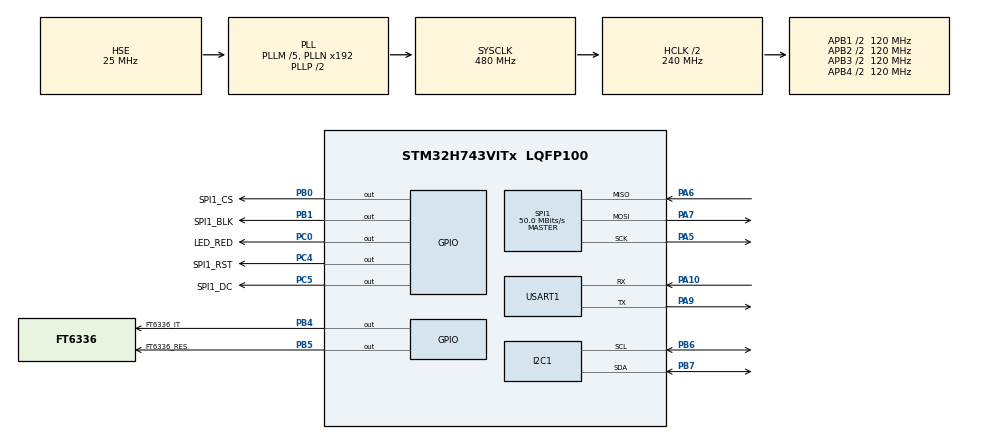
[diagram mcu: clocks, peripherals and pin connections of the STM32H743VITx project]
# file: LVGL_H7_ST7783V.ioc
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CORTEX_M7.default_mode_Activation=1
Dma.Request0=SPI1_TX
Dma.Request1=USART1_TX
Dma.SPI1_TX.0.Direction=DMA_MEMORY_TO_PERIPH
Dma.SPI1_TX.0.EventEnable=DISABLE
Dma.SPI1_TX.0.FIFOMode=DMA_FIFOMODE_DISABLE
Dma.SPI1_TX.0.Instance=DMA1_Stream0
Dma.SPI1_TX.0.MemDataAlignment=DMA_MDATAALIGN_BYTE
Dma.SPI1_TX.0.MemInc=DMA_MINC_ENABLE
Dma.SPI1_TX.0.Mode=DMA_NORMAL
Dma.SPI1_TX.0.PeriphDataAlignment=DMA_PDATAALIGN_BYTE
Dma.SPI1_TX.0.PeriphInc=DMA_PINC_DISABLE
Dma.SPI1_TX.0.Polarity=HAL_DMAMUX_REQ_GEN_RISING
Dma.SPI1_TX.0.Priority=DMA_PRIORITY_VERY_HIGH
Dma.SPI1_TX.0.RequestNumber=1
Dma.SPI1_TX.0.SignalID=NONE
Dma.SPI1_TX.0.SyncEnable=DISABLE
Dma.SPI1_TX.0.SyncPolarity=HAL_DMAMUX_SYNC_NO_EVENT
Dma.SPI1_TX.0.SyncRequestNumber=1
Dma.SPI1_TX.0.SyncSignalID=NONE
Dma.USART1_TX.1.Direction=DMA_MEMORY_TO_PERIPH
Dma.USART1_TX.1.EventEnable=DISABLE
Dma.USART1_TX.1.FIFOMode=DMA_FIFOMODE_DISABLE
Dma.USART1_TX.1.Instance=DMA1_Stream1
Dma.USART1_TX.1.MemDataAlignment=DMA_MDATAALIGN_BYTE
Dma.USART1_TX.1.MemInc=DMA_MINC_ENABLE
Dma.USART1_TX.1.Mode=DMA_NORMAL
Dma.USART1_TX.1.PeriphDataAlignment=DMA_PDATAALIGN_BYTE
Dma.USART1_TX.1.PeriphInc=DMA_PINC_DISABLE
Dma.USART1_TX.1.Polarity=HAL_DMAMUX_REQ_GEN_RISING
Dma.USART1_TX.1.Priority=DMA_PRIORITY_MEDIUM
Dma.USART1_TX.1.RequestNumber=1
Dma.USART1_TX.1.SignalID=NONE
Dma.USART1_TX.1.SyncEnable=DISABLE
Dma.USART1_TX.1.SyncPolarity=HAL_DMAMUX_SYNC_NO_EVENT
Dma.USART1_TX.1.SyncRequestNumber=1
Dma.USART1_TX.1.SyncSignalID=NONE
I2C1.Timing=0x307075B1
Mcu.Family=STM32H7
Mcu.Name=STM32H743VITx
Mcu.Package=LQFP100
NVIC.DMA1_Stream0_IRQn=true\:0\:0\:false\:false\:true\:false\:true\:true
NVIC.DMA1_Stream1_IRQn=true\:0\:0\:false\:false\:true\:false\:true\:true
NVIC.PriorityGroup=NVIC_PRIORITYGROUP_4
NVIC.SPI1_IRQn=true\:0\:0\:false\:false\:true\:true\:true\:true
NVIC.TIM1_BRK_IRQn=true\:0\:0\:false\:false\:true\:true\:true\:true
NVIC.TIM1_UP_IRQn=true\:0\:0\:false\:false\:true\:true\:true\:true
NVIC.USART1_IRQn=true\:0\:0\:false\:false\:true\:true\:true\:true
PA10.Mode=Asynchronous
PA10.Signal=USART1_RX
PA5.GPIO_PuPd=GPIO_NOPULL
PA5.GPIO_Speed=GPIO_SPEED_FREQ_VERY_HIGH
PA5.Mode=Full_Duplex_Master
PA5.Signal=SPI1_SCK
PA6.GPIO_PuPd=GPIO_NOPULL
PA6.GPIO_Speed=GPIO_SPEED_FREQ_VERY_HIGH
PA6.Mode=Full_Duplex_Master
PA6.Signal=SPI1_MISO
PA7.GPIO_PuPd=GPIO_NOPULL
PA7.GPIO_Speed=GPIO_SPEED_FREQ_VERY_HIGH
PA7.Mode=Full_Duplex_Master
PA7.Signal=SPI1_MOSI
PA9.Mode=Asynchronous
PA9.Signal=USART1_TX
PB0.GPIO_Label=SPI1_CS
PB0.GPIO_Speed=GPIO_SPEED_FREQ_VERY_HIGH
PB0.Signal=GPIO_Output
PB1.GPIO_Label=SPI1_BLK
PB1.GPIO_Speed=GPIO_SPEED_FREQ_VERY_HIGH
PB1.Signal=GPIO_Output
PB4\ (NJTRST).GPIO_Label=FT6336_IT
PB4\ (NJTRST).GPIO_Speed=GPIO_SPEED_FREQ_VERY_HIGH
PB4\ (NJTRST).Signal=GPIO_Output
PB5.GPIO_Label=FT6336_RES
PB5.GPIO_Speed=GPIO_SPEED_FREQ_VERY_HIGH
PB5.Signal=GPIO_Output
PB6.Mode=I2C
PB6.Signal=I2C1_SCL
PB7.Mode=I2C
PB7.Signal=I2C1_SDA
PC0.GPIO_Label=LED_RED
PC0.GPIO_Speed=GPIO_SPEED_FREQ_VERY_HIGH
PC0.Signal=GPIO_Output
PC4.GPIO_Label=SPI1_RST
PC4.GPIO_Speed=GPIO_SPEED_FREQ_VERY_HIGH
PC4.Signal=GPIO_Output
PC5.GPIO_Label=SPI1_DC
PC5.GPIO_Speed=GPIO_SPEED_FREQ_VERY_HIGH
PC5.Signal=GPIO_Output
PH0-OSC_IN\ (PH0).Mode=HSE-External-Oscillator
PH0-OSC_IN\ (PH0).Signal=RCC_OSC_IN
PH1-OSC_OUT\ (PH1).Mode=HSE-External-Oscillator
PH1-OSC_OUT\ (PH1).Signal=RCC_OSC_OUT
ProjectManager.HeapSize=0x800
ProjectManager.StackSize=0x1000
ProjectManager.TargetToolchain=CMake
RCC.ADCFreq_Value=100000000
RCC.APB1Freq_Value=120000000
RCC.APB2Freq_Value=120000000
RCC.APB3Freq_Value=120000000
RCC.APB4Freq_Value=120000000
RCC.CortexFreq_Value=480000000
RCC.D1PPRE=RCC_APB3_DIV2
RCC.D2PPRE1=RCC_APB1_DIV2
RCC.D2PPRE2=RCC_APB2_DIV2
RCC.D3PPRE=RCC_APB4_DIV2
RCC.DIVM1=5
RCC.DIVM2=5
RCC.DIVN1=192
RCC.DIVN2=40
RCC.HCLKFreq_Value=240000000
RCC.HPRE=RCC_HCLK_DIV2
RCC.PLLSourceVirtual=RCC_PLLSOURCE_HSE
RCC.SPI123CLockSelection=RCC_SPI123CLKSOURCE_PLL2
RCC.SYSCLKFreq_VALUE=480000000
RCC.SYSCLKSource=RCC_SYSCLKSOURCE_PLLCLK
RCC.USBFreq_Value=480000000
SPI1.BaudRatePrescaler=SPI_BAUDRATEPRESCALER_2
SPI1.CalculateBaudRate=50.0 MBits/s
SPI1.DataSize=SPI_DATASIZE_8BIT
SPI1.Direction=SPI_DIRECTION_2LINES
SPI1.Mode=SPI_MODE_MASTER
SPI1.VirtualType=VM_MASTER
TIM1.Period=1000 -1
TIM1.Prescaler=240 - 1
USART1.VirtualMode-Asynchronous=VM_ASYNC
VP_MEMORYMAP_VS_MEMORYMAP.Mode=CurAppReg
VP_TIM1_VS_ClockSourceINT.Mode=Internal
board=custom

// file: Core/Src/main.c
/* USER CODE BEGIN Header */
/**
  ******************************************************************************
  * @file           : main.c
  * @brief          : Main program body
  ******************************************************************************
  * @attention
  *
  * Copyright (c) 2025 STMicroelectronics.
  * All rights reserved.
  *
  * This software is licensed under terms that can be found in the LICENSE file
  * in the root directory of this software component.
  * If no LICENSE file comes with this software, it is provided AS-IS.
  *
  ******************************************************************************
  */
/* USER CODE END Header */
#include "main.h"
#include "dma.h"
#include "i2c.h"
#include "spi.h"
#include "tim.h"
#include "usart.h"
#include "gpio.h"

/* USER CODE BEGIN Includes */
#include "lvgl.h"
#include <stdint.h>
#include <stdio.h>
#include "LCD.h"
#include "lv_port_disp.h"
#include "widgets/lv_btn.h"
#include <stdbool.h>
#include "ft6336.h"
#include "lv_port_indev.h"
#include "gui_guider.h"
#include "events_init.h"
#include "custom.h"
// #include "lv_demo_widgets.h"
/* USER CODE END Includes */

/* USER CODE BEGIN PTD */
volatile bool g_lv_hander_flag = false;
/* USER CODE END PTD */

void SystemClock_Config(void);
static void MPU_Config(void);

/* USER CODE BEGIN 0 */
static lv_obj_t *g_btn_label = NULL;
static uint32_t g_btn_count = 0;
lv_ui ui;

static void btn_event_cb(lv_event_t *e)
{
  if (lv_event_get_code(e) != LV_EVENT_CLICKED) {
    return; // Only handle click events
  }

  // Update label text with the current count, then increment for next click
  lv_label_set_text_fmt(g_btn_label, "count:%lu", (unsigned long)g_btn_count);
  printf("clicked count: %lu\r\n",(unsigned long)g_btn_count);
  g_btn_count++;
}
/* USER CODE END 0 */

int main(void)
{

  /* MPU Configuration--------------------------------------------------------*/
  MPU_Config();

  /* MCU Configuration--------------------------------------------------------*/

  /* Reset of all peripherals, Initializes the Flash interface and the Systick. */
  HAL_Init();

  /* Configure the system clock */
  SystemClock_Config();

  /* Initialize all configured peripherals */
  MX_GPIO_Init();
  MX_DMA_Init();
  MX_SPI1_Init();
  MX_TIM1_Init();
  MX_USART1_UART_Init();
  MX_I2C1_Init();
  /* USER CODE BEGIN 2 */
  LCD_Init();
  lv_init();
  FT6336_Init();
  lv_port_disp_init();
  lv_port_indev_init();
  setup_ui(&ui);
  custom_init(&ui);
  events_init(&ui);
  // LCD_Clear(YELLOW);

  // lv_obj_t* button = lv_btn_create(lv_scr_act()); // 在当前活动屏幕上创建一个按钮
  // lv_obj_set_pos(button, 60 , 10);
  // lv_obj_set_size(button, 120, 50);

  // g_btn_label = lv_label_create(button); // 在按钮上创建一个标签
  // lv_obj_align(g_btn_label, LV_ALIGN_CENTER,0 , 0);
  // lv_label_set_text(g_btn_label, "count:0");

  // lv_obj_add_event_cb(button, btn_event_cb, LV_EVENT_CLICKED, NULL);

  // lv_demo_widgets();
  HAL_TIM_Base_Start_IT(&htim1);
  printf("init completed\n");
  /* USER CODE END 2 */

  /* Infinite loop */
  /* USER CODE BEGIN WHILE */
  while (1)
  {
    // HAL_GPIO_TogglePin(LED_RED_GPIO_Port, LED_RED_Pin);
    if (g_lv_hander_flag)
    {
      lv_timer_handler();
      g_lv_hander_flag = false;
    }
    // if (FT6336_ReadTouch(&x, &y, FT6336_DIR_270))
    // {
    //   printf("x= %u,y= %u\r\n",x,y);
    // }
    // HAL_Delay(200);
    /* USER CODE END WHILE */

  }
}

void SystemClock_Config(void)
{
  RCC_OscInitTypeDef RCC_OscInitStruct = {0};
  RCC_ClkInitTypeDef RCC_ClkInitStruct = {0};

  /** Supply configuration update enable
  */
  HAL_PWREx_ConfigSupply(PWR_LDO_SUPPLY);

  /** Configure the main internal regulator output voltage
  */
  __HAL_PWR_VOLTAGESCALING_CONFIG(PWR_REGULATOR_VOLTAGE_SCALE0);

  while(!__HAL_PWR_GET_FLAG(PWR_FLAG_VOSRDY)) {}

  /** Initializes the RCC Oscillators according to the specified parameters
  * in the RCC_OscInitTypeDef structure.
  */
  RCC_OscInitStruct.OscillatorType = RCC_OSCILLATORTYPE_HSE;
  RCC_OscInitStruct.HSEState = RCC_HSE_ON;
  RCC_OscInitStruct.PLL.PLLState = RCC_PLL_ON;
  RCC_OscInitStruct.PLL.PLLSource = RCC_PLLSOURCE_HSE;
  RCC_OscInitStruct.PLL.PLLM = 5;
  RCC_OscInitStruct.PLL.PLLN = 192;
  RCC_OscInitStruct.PLL.PLLP = 2;
  RCC_OscInitStruct.PLL.PLLQ = 2;
  RCC_OscInitStruct.PLL.PLLR = 2;
  RCC_OscInitStruct.PLL.PLLRGE = RCC_PLL1VCIRANGE_2;
  RCC_OscInitStruct.PLL.PLLVCOSEL = RCC_PLL1VCOWIDE;
  RCC_OscInitStruct.PLL.PLLFRACN = 0;
  if (HAL_RCC_OscConfig(&RCC_OscInitStruct) != HAL_OK)
  {
    Error_Handler();
  }

  /** Initializes the CPU, AHB and APB buses clocks
  */
  RCC_ClkInitStruct.ClockType = RCC_CLOCKTYPE_HCLK|RCC_CLOCKTYPE_SYSCLK
                              |RCC_CLOCKTYPE_PCLK1|RCC_CLOCKTYPE_PCLK2
                              |RCC_CLOCKTYPE_D3PCLK1|RCC_CLOCKTYPE_D1PCLK1;
  RCC_ClkInitStruct.SYSCLKSource = RCC_SYSCLKSOURCE_PLLCLK;
  RCC_ClkInitStruct.SYSCLKDivider = RCC_SYSCLK_DIV1;
  RCC_ClkInitStruct.AHBCLKDivider = RCC_HCLK_DIV2;
  RCC_ClkInitStruct.APB3CLKDivider = RCC_APB3_DIV2;
  RCC_ClkInitStruct.APB1CLKDivider = RCC_APB1_DIV2;
  RCC_ClkInitStruct.APB2CLKDivider = RCC_APB2_DIV2;
  RCC_ClkInitStruct.APB4CLKDivider = RCC_APB4_DIV2;

  if (HAL_RCC_ClockConfig(&RCC_ClkInitStruct, FLASH_LATENCY_4) != HAL_OK)
  {
    Error_Handler();
  }
}

/* USER CODE BEGIN 4 */

void HAL_TIM_PeriodElapsedCallback(TIM_HandleTypeDef *htim)
{
  static uint32_t count = 0;
  if (htim->Instance == TIM1)
  {
    if (count % 10 == 0)
    {
      lv_tick_inc(10);
      g_lv_hander_flag = true;
    }
    count++;
    // static uint32_t count = 0;
    // lv_timer_handler();
    // printf("current timer count: %lu\r\n", (unsigned long)count++);
  }
}
/* USER CODE END 4 */

 /* MPU Configuration */

void MPU_Config(void)
{
  MPU_Region_InitTypeDef MPU_InitStruct = {0};

  /* Disables the MPU */
  HAL_MPU_Disable();

  /** Initializes and configures the Region and the memory to be protected
  */
  MPU_InitStruct.Enable = MPU_REGION_ENABLE;
  MPU_InitStruct.Number = MPU_REGION_NUMBER0;
  MPU_InitStruct.BaseAddress = 0x0;
  MPU_InitStruct.Size = MPU_REGION_SIZE_4GB;
  MPU_InitStruct.SubRegionDisable = 0x87;
  MPU_InitStruct.TypeExtField = MPU_TEX_LEVEL0;
  MPU_InitStruct.AccessPermission = MPU_REGION_NO_ACCESS;
  MPU_InitStruct.DisableExec = MPU_INSTRUCTION_ACCESS_DISABLE;
  MPU_InitStruct.IsShareable = MPU_ACCESS_SHAREABLE;
  MPU_InitStruct.IsCacheable = MPU_ACCESS_NOT_CACHEABLE;
  MPU_InitStruct.IsBufferable = MPU_ACCESS_NOT_BUFFERABLE;

  HAL_MPU_ConfigRegion(&MPU_InitStruct);
  /* Enables the MPU */
  HAL_MPU_Enable(MPU_PRIVILEGED_DEFAULT);

}

void Error_Handler(void)
{
  __disable_irq();
  while (1)
  {
  }
}
